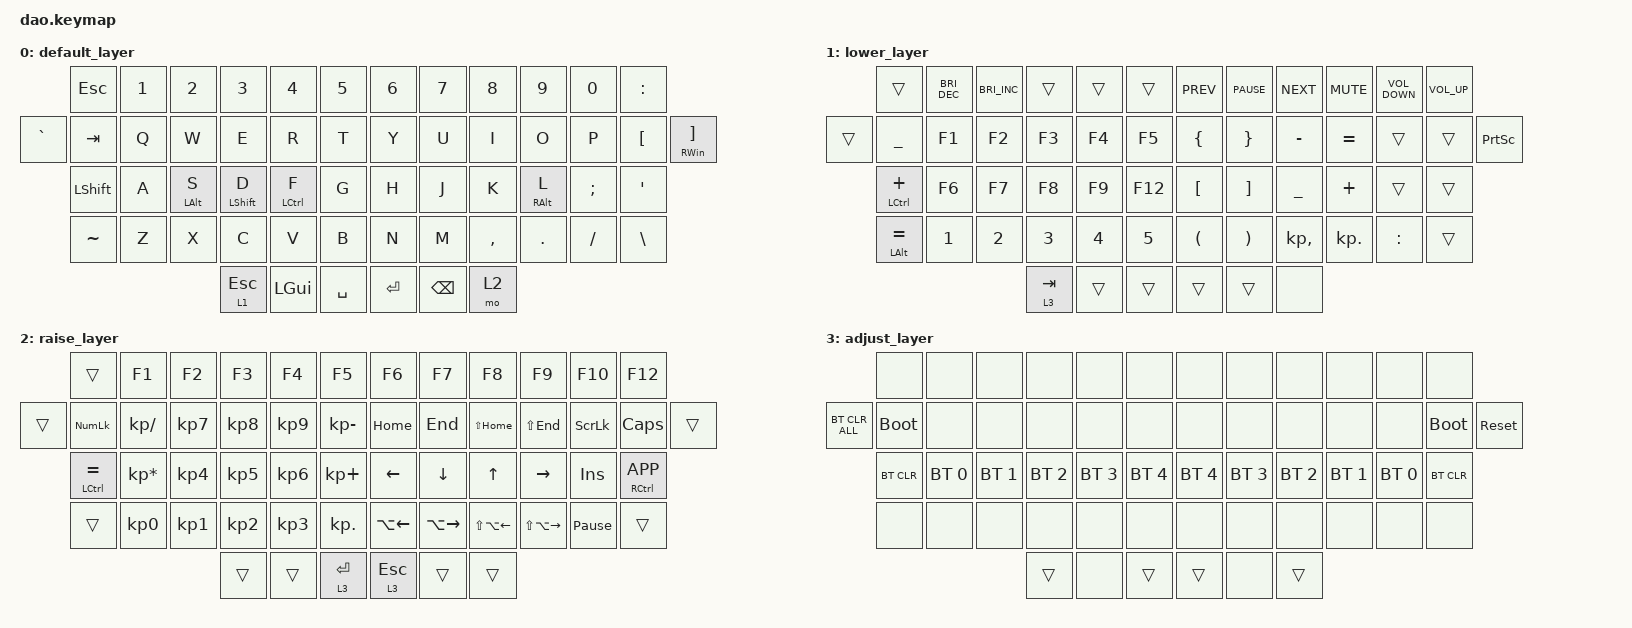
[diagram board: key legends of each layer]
/*
 * Copyright (c) 2021 Rafael Yumagulov
 *
 * SPDX-License-Identifier: MIT
 */

#include <behaviors.dtsi>
#include <dt-bindings/zmk/bt.h>
#include <dt-bindings/zmk/keys.h>

#define DEF 0
#define LWR 1
#define RSE 2
#define ADJ 3

&lt { quick_tap_ms = <200>; };

&mt {
    quick_tap_ms = <220>;
    flavor = "balanced";
    tapping-term-ms = <220>;
};

/ {
    keymap {
        compatible = "zmk,keymap";

        default_layer {
            // -----------------------------------------------------------------------------------------
            // |  GUI |   ~  |  Q  |  W  |  E  |  R  |  T  |   |  Y  |  U   |  I  |  O  |  P  |  [   | GUI/] |
            //        | CTRL |  A  |  S  |  D  |  F  |  G  |   |  H  |  J   |  K  |  L  |  ;  |CTRL/'|
            //        | LALT |  Z  |  X  |  C  |  V  |  B  |   |  N  |  M   |  ,  |  .  |  /  | RALT |
            //                           | RSE | SPC | LWR |   | LWR | BKSP | RSE |

            bindings = <
           &kp ESCAPE      &kp N1  &kp N2          &kp N3            &kp N4        &kp N5       &kp N6     &kp N7         &kp N8     &kp N9           &kp N0    &kp COLON
&kp GRAVE  &kp TAB         &kp Q   &kp W           &kp E             &kp R         &kp T        &kp Y      &kp U          &kp I      &kp O            &kp P     &kp LBKT       &mt RWIN RBKT
           &kp LEFT_SHIFT  &kp A   &mt LEFT_ALT S  &mt LEFT_SHIFT D  &mt LCTRL F   &kp G        &kp H      &kp J          &kp K      &mt RIGHT_ALT L  &kp SEMI  &kp SQT
           &kp TILDE       &kp Z   &kp X           &kp C             &kp V         &kp B        &kp N      &kp M          &kp COMMA  &kp DOT          &kp FSLH  &kp BACKSLASH
                                                   &lt 1 ESC         &kp LEFT_GUI  &kp SPACE    &kp ENTER  &kp BACKSPACE  &mo 2
            >;
        };

        lower_layer {
            // -----------------------------------------------------------------------------------------
            // |     |  _  |  F1 |  F2 |  F3 |  F4 |  F5 |   |  F6 |  F7 |  F8 |  F9 | F10 | F11 | F12 |
            //       |  +  |  !  |  @  |  #  |  $  |  %  |   |  ^  |  &  |  *  |  (  |  )  |  -  |
            //       |  =  |  1  |  2  |  3  |  4  |  5  |   |  6  |  7  |  8  |  9  |  0  |     |
            //                    | GUI |     | SPC |   | ENT |     | ALT |

            bindings = <
        &trans          &kp C_BRIGHTNESS_DEC  &kp C_BRIGHTNESS_INC  &trans     &trans  &trans     &kp C_PREV            &kp C_PAUSE            &kp C_NEXT      &kp K_MUTE  &kp C_VOLUME_DOWN  &kp C_VOLUME_UP
&trans  &kp UNDER       &kp F1                &kp F2                &kp F3     &kp F4  &kp F5     &kp LEFT_BRACE        &kp RIGHT_BRACE        &kp MINUS       &kp EQUAL   &trans             &trans           &kp PRINTSCREEN
        &mt LCTRL PLUS  &kp F6                &kp F7                &kp F8     &kp F9  &kp F12    &kp LEFT_BRACKET      &kp RIGHT_BRACKET      &kp UNDERSCORE  &kp PLUS    &trans             &trans
        &mt LALT EQUAL  &kp N1                &kp N2                &kp N3     &kp N4  &kp N5     &kp LEFT_PARENTHESIS  &kp RIGHT_PARENTHESIS  &kp KP_COMMA    &kp KP_DOT  &kp COLON          &trans
                                                                    &lt 3 TAB  &trans  &trans     &trans                &trans                 &none
            >;
        };

        raise_layer {
            // -----------------------------------------------------------------------------------------
            // |     | NMLK |  /  |  7  |  8  |  9  |  -  |   | VOLU| HOME| PRSC| PGUP| SCLK| CLCK|     |
            //       | CTRL |  *  |  4  |  5  |  6  |  +  |   | MUT | LEFT|  UP | RGHT| INS | APP |
            //       |      |  0  |  1  |  2  |  3  |  .  |   | VOLD| END | DOWN| PGDN| PAUS|     |
            //                          |     |     | ADJ |   | ADJ |     |     |

            bindings = <
        &trans           &kp F1           &kp F2     &kp F3     &kp F4     &kp F5          &kp F6          &kp F7         &kp F8            &kp F9             &kp F10          &kp F12
&trans  &kp KP_NUM       &kp KP_SLASH     &kp KP_N7  &kp KP_N8  &kp KP_N9  &kp KP_MINUS    &kp HOME        &kp END        &kp LS(HOME)      &kp LS(END)        &kp SLCK         &kp CAPS         &trans
        &mt LCTRL EQUAL  &kp KP_MULTIPLY  &kp KP_N4  &kp KP_N5  &kp KP_N6  &kp KP_PLUS     &kp LEFT_ARROW  &kp DOWN       &kp UP            &kp RIGHT          &kp INS          &mt RCTRL K_APP
        &trans           &kp KP_N0        &kp KP_N1  &kp KP_N2  &kp KP_N3  &kp KP_DOT      &kp LA(LEFT)    &kp LA(RIGHT)  &kp LS(LA(LEFT))  &kp LS(LA(RIGHT))  &kp PAUSE_BREAK  &trans
                                                     &trans     &trans     &lt 3 RET       &lt 3 ESC       &trans         &trans
            >;
        };

        adjust_layer {
            // -----------------------------------------------------------------------------------------
            // | RST | BLDR |     |     |     |     |     |   |     |     |     |     |     | BLDR | RST |
            //       | BTCLR| BT0 | BT1 | BT2 | BT3 | BT4 |   | BT4 | BT3 | BT2 | BT1 | BT0 | BTCLR|
            //       |      |     |     |     |     |     |   |     |     |     |     |     |      |
            //                          |     |     |     |   |     |     |     |

            bindings = <
                &none        &none         &none         &none         &none         &none           &none         &none         &none         &none         &none         &none
&bt BT_CLR_ALL  &bootloader  &none         &none         &none         &none         &none           &none         &none         &none         &none         &none         &bootloader  &sys_reset
                &bt BT_CLR   &bt BT_SEL 0  &bt BT_SEL 1  &bt BT_SEL 2  &bt BT_SEL 3  &bt BT_SEL 4    &bt BT_SEL 4  &bt BT_SEL 3  &bt BT_SEL 2  &bt BT_SEL 1  &bt BT_SEL 0  &bt BT_CLR
                &none        &none         &none         &none         &none         &none           &none         &none         &none         &none         &none         &none
                                                         &trans        &none         &trans          &trans        &none         &trans
            >;
        };
    };
};
